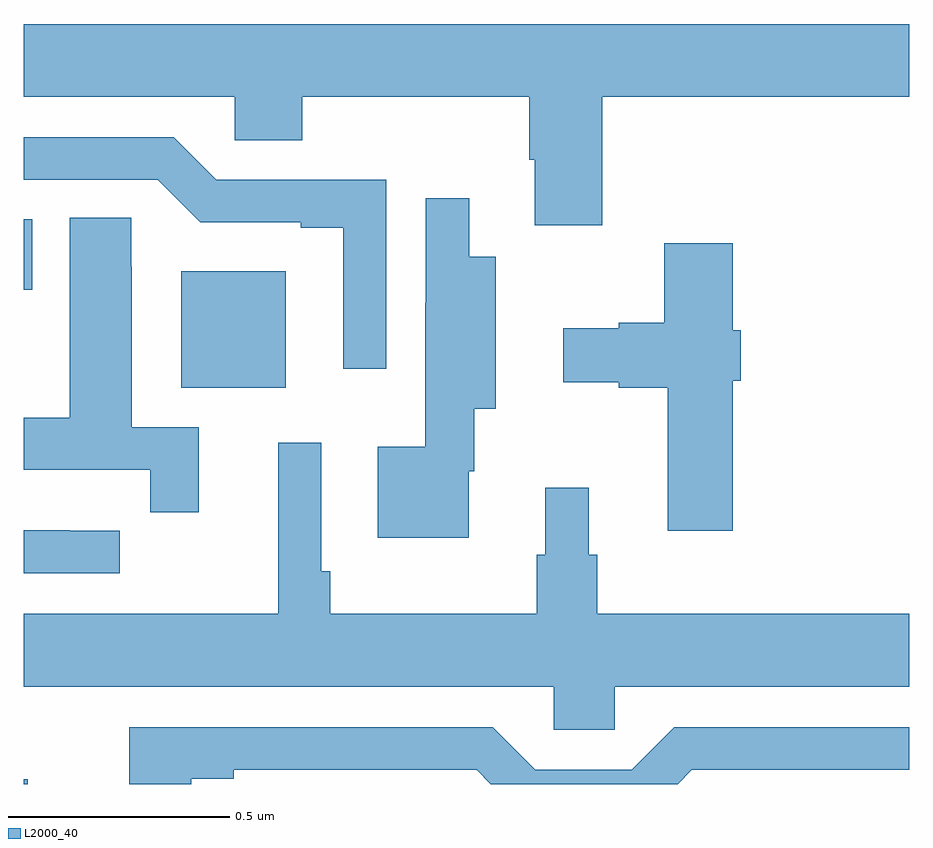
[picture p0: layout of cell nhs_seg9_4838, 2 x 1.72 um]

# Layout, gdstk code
import gdstk
lib = gdstk.Library(unit=1e-6, precision=1e-09)
def R(c, l, rs):  # rectangles x0, y0, x1, y1
    for r in rs: c.add(gdstk.rectangle(r[:2], r[2:], *l))
def P(c, l, *ps):  # polygons
    for p in ps: c.add(gdstk.Polygon(p, *l))
L2000_40 = (2000, 40)

nhs_seg9_4838 = lib.new_cell('nhs_seg9_4838')
R(nhs_seg9_4838, L2000_40, [(171,1229.5,171.009,1229.511), (171.356,1230.395,171.592,1230.658), (171,1230.616,171.019,1230.775)])
P(nhs_seg9_4838, L2000_40, [(171,1231.052),(171.477,1231.052),(171.477,1230.954),(171.629,1230.954),(171.629,1231.052),(172.142,1231.052),(172.142,1230.91),(172.154,1230.91),(172.154,1230.762),(172.307,1230.762),(172.307,1231.052),(173,1231.052),(173,1231.216),(171,1231.216)],
  [(171.819,1230.864),(171.435,1230.864),(171.339,1230.96),(171,1230.96),(171,1230.864),(171.303,1230.864),(171.399,1230.768),(171.626,1230.768),(171.626,1230.756),(171.722,1230.756),(171.722,1230.438),(171.819,1230.438)],
  [(172.005,1230.206),(172.018,1230.206),(172.018,1230.347),(172.066,1230.347),(172.066,1230.691),(172.006,1230.691),(172.006,1230.823),(171.908,1230.823),(171.908,1230.587),(171.907,1230.587),(171.907,1230.262),(171.8,1230.262),(171.8,1230.056),(172.005,1230.056)],
  [(171.395,1230.306),(171.244,1230.306),(171.244,1230.668),(171.243,1230.668),(171.243,1230.779),(171.104,1230.779),(171.104,1230.327),(171,1230.327),(171,1230.21),(171.286,1230.21),(171.286,1230.114),(171.395,1230.114)],
  [(172.601,1230.411),(172.619,1230.411),(172.619,1230.525),(172.601,1230.525),(172.601,1230.721),(172.447,1230.721),(172.447,1230.542),(172.344,1230.542),(172.344,1230.529),(172.218,1230.529),(172.218,1230.407),(172.344,1230.407),(172.344,1230.395),(172.454,1230.395),(172.454,1230.072),(172.601,1230.072)],
  [(172.335,1229.72),(173,1229.72),(173,1229.884),(172.295,1229.884),(172.295,1230.018),(172.276,1230.018),(172.276,1230.169),(172.178,1230.169),(172.178,1230.018),(172.159,1230.018),(172.159,1229.884),(171.692,1229.884),(171.692,1229.98),(171.672,1229.98),(171.672,1230.271),(171.575,1230.271),(171.575,1229.884),(171,1229.884),(171,1229.72),(172.197,1229.72),(172.197,1229.622),(172.335,1229.622)],
  [(171.217,1230.072),(171.104,1230.072),(171.104,1230.073),(171,1230.073),(171,1229.976),(171.217,1229.976)],
  [(171.379,1229.512),(171.475,1229.512),(171.475,1229.532),(172.023,1229.532),(172.055,1229.5),(172.477,1229.5),(172.509,1229.532),(173,1229.532),(173,1229.628),(172.469,1229.628),(172.373,1229.532),(172.155,1229.532),(172.059,1229.628),(171.239,1229.628),(171.239,1229.5),(171.379,1229.5)])

lib.write_gds('nhs_seg9_4838.gds')
